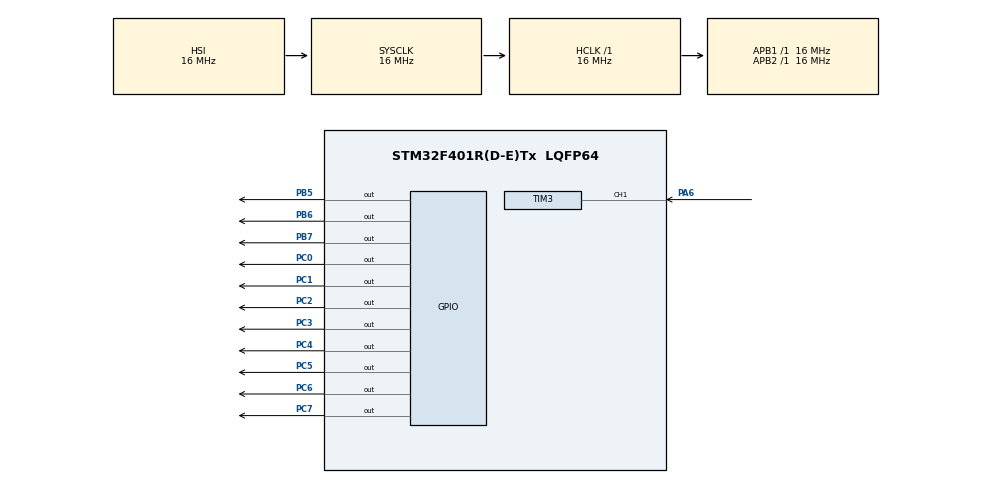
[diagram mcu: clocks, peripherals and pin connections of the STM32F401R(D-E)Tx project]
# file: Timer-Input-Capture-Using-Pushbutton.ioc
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Mcu.Family=STM32F4
RCC.CortexFreq_Value=16000000
TIM3.AutoReloadPreload=TIM_AUTORELOAD_PRELOAD_ENABLE
PC4.Signal=GPIO_Output
PC2.Signal=GPIO_Output
PC6.Signal=GPIO_Output
PC0.Signal=GPIO_Output
ProjectManager.StackSize=0x400
ProjectManager.TargetToolchain=MDK-ARM V5.27
TIM3.Period=1000
PB6.Signal=GPIO_Output
PC7.Signal=GPIO_Output
PC3.Signal=GPIO_Output
RCC.LSE_VALUE=32768
RCC.AHBFreq_Value=16000000
RCC.HSE_VALUE=25000000
TIM3.Channel-Input_Capture1_from_TI1=TIM_CHANNEL_1
board=custom
RCC.VCOOutputFreq_Value=192000000
NVIC.TIM3_IRQn=true\:0\:0\:false\:false\:true\:true\:true
RCC.APB2Freq_Value=16000000
PA6.GPIO_PuPd=GPIO_PULLUP
TIM3.Prescaler=16000
TIM3.ICPolarity_CH1=TIM_INPUTCHANNELPOLARITY_FALLING
PB7.Signal=GPIO_Output
SH.S_TIM3_CH1.0=TIM3_CH1,Input_Capture1_from_TI1
Mcu.Name=STM32F401R(D-E)Tx
RCC.SYSCLKFreq_VALUE=16000000
Mcu.Package=LQFP64
PB5.Signal=GPIO_Output
PA6.Signal=S_TIM3_CH1
ProjectManager.HeapSize=0x200
RCC.HSI_VALUE=16000000
NVIC.PriorityGroup=NVIC_PRIORITYGROUP_4
PC5.Signal=GPIO_Output
TIM3.ICFilter_CH1=0
RCC.APB1Freq_Value=16000000
PC1.Signal=GPIO_Output

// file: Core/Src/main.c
/* USER CODE BEGIN Header */
/**
  ******************************************************************************
  * @file           : main.c
  * @brief          : Main program body
  ******************************************************************************
  * @attention
  *
  * <h2><center>&copy; Copyright (c) 2020 STMicroelectronics.
  * All rights reserved.</center></h2>
  *
  * This software component is licensed by ST under BSD 3-Clause license,
  * the "License"; You may not use this file except in compliance with the
  * License. You may obtain a copy of the License at:
  *                        opensource.org/licenses/BSD-3-Clause
  *
  ******************************************************************************
  */
/* USER CODE END Header */
#include "main.h"

/* USER CODE BEGIN PD */
#define RS GPIO_PIN_5 /* PB5 mask for reg select */
#define RW GPIO_PIN_6 /* PB6 mask for read/write */
#define EN GPIO_PIN_7 /* PB7 mask for enable */
/* USER CODE END PD */

TIM_HandleTypeDef htim3;

/* USER CODE BEGIN PV */
uint64_t seconds = 0;
uint8_t trigger = 0;
double measured_time = 0;
uint32_t counter_val = 0;
/* USER CODE END PV */

void SystemClock_Config(void);
static void MX_GPIO_Init(void);
static void MX_TIM3_Init(void);
/* USER CODE BEGIN PFP */
void HAL_TIM_IC_CaptureCallback(TIM_HandleTypeDef *htim);
void HAL_TIM_PeriodElapsedCallback(TIM_HandleTypeDef *htim);
void GPIO_Write_ODR(GPIO_TypeDef *GPIOx, uint16_t data);
void write_result_on_LCD(void);
void LCD_command(unsigned char command);
void LCD_data(char data);
void LCD_init(void);
void LCD_puts(char *string);
void delayMs(int n);
/* USER CODE END PFP */

int main(void)
{

  /* MCU Configuration--------------------------------------------------------*/

  /* Reset of all peripherals, Initializes the Flash interface and the Systick. */
  HAL_Init();

  /* Configure the system clock */
  SystemClock_Config();

  /* Initialize all configured peripherals */
  MX_GPIO_Init();
  MX_TIM3_Init();
  /* USER CODE BEGIN 2 */
	LCD_init();

	HAL_TIM_Base_Start_IT(&htim3);
	HAL_TIM_IC_Start_IT(&htim3, TIM_CHANNEL_1);
  /* USER CODE END 2 */

  /* Infinite loop */
  while (1)
  {

  }
}

void SystemClock_Config(void)
{
  RCC_OscInitTypeDef RCC_OscInitStruct = {0};
  RCC_ClkInitTypeDef RCC_ClkInitStruct = {0};

  /** Configure the main internal regulator output voltage
  */
  __HAL_RCC_PWR_CLK_ENABLE();
  __HAL_PWR_VOLTAGESCALING_CONFIG(PWR_REGULATOR_VOLTAGE_SCALE2);
  /** Initializes the RCC Oscillators according to the specified parameters
  * in the RCC_OscInitTypeDef structure.
  */
  RCC_OscInitStruct.OscillatorType = RCC_OSCILLATORTYPE_HSI;
  RCC_OscInitStruct.HSIState = RCC_HSI_ON;
  RCC_OscInitStruct.HSICalibrationValue = RCC_HSICALIBRATION_DEFAULT;
  RCC_OscInitStruct.PLL.PLLState = RCC_PLL_NONE;
  if (HAL_RCC_OscConfig(&RCC_OscInitStruct) != HAL_OK)
  {
    Error_Handler();
  }
  /** Initializes the CPU, AHB and APB buses clocks
  */
  RCC_ClkInitStruct.ClockType = RCC_CLOCKTYPE_HCLK|RCC_CLOCKTYPE_SYSCLK
                              |RCC_CLOCKTYPE_PCLK1|RCC_CLOCKTYPE_PCLK2;
  RCC_ClkInitStruct.SYSCLKSource = RCC_SYSCLKSOURCE_HSI;
  RCC_ClkInitStruct.AHBCLKDivider = RCC_SYSCLK_DIV1;
  RCC_ClkInitStruct.APB1CLKDivider = RCC_HCLK_DIV1;
  RCC_ClkInitStruct.APB2CLKDivider = RCC_HCLK_DIV1;

  if (HAL_RCC_ClockConfig(&RCC_ClkInitStruct, FLASH_LATENCY_0) != HAL_OK)
  {
    Error_Handler();
  }
}

static void MX_TIM3_Init(void)
{

  TIM_MasterConfigTypeDef sMasterConfig = {0};
  TIM_IC_InitTypeDef sConfigIC = {0};

  htim3.Instance = TIM3;
  htim3.Init.Prescaler = 16000;
  htim3.Init.CounterMode = TIM_COUNTERMODE_UP;
  htim3.Init.Period = 1000;
  htim3.Init.ClockDivision = TIM_CLOCKDIVISION_DIV1;
  htim3.Init.AutoReloadPreload = TIM_AUTORELOAD_PRELOAD_ENABLE;
  if (HAL_TIM_IC_Init(&htim3) != HAL_OK)
  {
    Error_Handler();
  }
  sMasterConfig.MasterOutputTrigger = TIM_TRGO_RESET;
  sMasterConfig.MasterSlaveMode = TIM_MASTERSLAVEMODE_DISABLE;
  if (HAL_TIMEx_MasterConfigSynchronization(&htim3, &sMasterConfig) != HAL_OK)
  {
    Error_Handler();
  }
  sConfigIC.ICPolarity = TIM_INPUTCHANNELPOLARITY_FALLING;
  sConfigIC.ICSelection = TIM_ICSELECTION_DIRECTTI;
  sConfigIC.ICPrescaler = TIM_ICPSC_DIV1;
  sConfigIC.ICFilter = 0;
  if (HAL_TIM_IC_ConfigChannel(&htim3, &sConfigIC, TIM_CHANNEL_1) != HAL_OK)
  {
    Error_Handler();
  }

}

static void MX_GPIO_Init(void)
{
  GPIO_InitTypeDef GPIO_InitStruct = {0};

  /* GPIO Ports Clock Enable */
  __HAL_RCC_GPIOC_CLK_ENABLE();
  __HAL_RCC_GPIOA_CLK_ENABLE();
  __HAL_RCC_GPIOB_CLK_ENABLE();

  /*Configure GPIO pin Output Level */
  HAL_GPIO_WritePin(GPIOC, GPIO_PIN_0|GPIO_PIN_1|GPIO_PIN_2|GPIO_PIN_3
                          |GPIO_PIN_4|GPIO_PIN_5|GPIO_PIN_6|GPIO_PIN_7, GPIO_PIN_RESET);

  /*Configure GPIO pin Output Level */
  HAL_GPIO_WritePin(GPIOB, GPIO_PIN_5|GPIO_PIN_6|GPIO_PIN_7, GPIO_PIN_RESET);

  /*Configure GPIO pins : PC0 PC1 PC2 PC3
                           PC4 PC5 PC6 PC7 */
  GPIO_InitStruct.Pin = GPIO_PIN_0|GPIO_PIN_1|GPIO_PIN_2|GPIO_PIN_3
                          |GPIO_PIN_4|GPIO_PIN_5|GPIO_PIN_6|GPIO_PIN_7;
  GPIO_InitStruct.Mode = GPIO_MODE_OUTPUT_PP;
  GPIO_InitStruct.Pull = GPIO_NOPULL;
  GPIO_InitStruct.Speed = GPIO_SPEED_FREQ_LOW;
  HAL_GPIO_Init(GPIOC, &GPIO_InitStruct);

  /*Configure GPIO pins : PB5 PB6 PB7 */
  GPIO_InitStruct.Pin = GPIO_PIN_5|GPIO_PIN_6|GPIO_PIN_7;
  GPIO_InitStruct.Mode = GPIO_MODE_OUTPUT_PP;
  GPIO_InitStruct.Pull = GPIO_NOPULL;
  GPIO_InitStruct.Speed = GPIO_SPEED_FREQ_LOW;
  HAL_GPIO_Init(GPIOB, &GPIO_InitStruct);

}

/* USER CODE BEGIN 4 */
void HAL_TIM_IC_CaptureCallback(TIM_HandleTypeDef *htim)
{
	HAL_NVIC_DisableIRQ(TIM3_IRQn);
	if(trigger == 1)
	{
		counter_val = HAL_TIM_ReadCapturedValue(&htim3, TIM_CHANNEL_1);
		trigger = 0;
		measured_time = ((double)(counter_val)) / 1000 + seconds;
		char result[3];
		sprintf(result, "%.3lf", measured_time);
		LCD_command(1);
		LCD_puts("Pushed Time: ");
		LCD_command(0xC0);
		LCD_puts(result);
		__HAL_TIM_SET_CAPTUREPOLARITY(&htim3, TIM_CHANNEL_1, TIM_INPUTCHANNELPOLARITY_FALLING);
	}
	else if(trigger == 0)
	{
		__HAL_TIM_SET_COUNTER(&htim3, 0);
		trigger = 1;
		seconds = 0;
		__HAL_TIM_SET_CAPTUREPOLARITY(&htim3, TIM_CHANNEL_1, TIM_INPUTCHANNELPOLARITY_RISING);
	}
	HAL_NVIC_EnableIRQ(TIM3_IRQn);
}
void HAL_TIM_PeriodElapsedCallback(TIM_HandleTypeDef *htim)
{
	if(trigger == 1)
	{
		++seconds;
	}
}

void GPIO_Write_ODR(GPIO_TypeDef *GPIOx, uint16_t data)
{
  uint8_t i = 0;
  uint8_t mask = 1;
  for (; i < 16; i++)
  {
    if ((mask & data) == 0)
    {
      HAL_GPIO_WritePin(GPIOx, 1 << i, GPIO_PIN_RESET);
    }
    else
    {
      HAL_GPIO_WritePin(GPIOx, 1 << i, GPIO_PIN_SET);
    }
    mask = mask << 1;
  }
}

void LCD_init(void)
{
  delayMs(30); /* initialization sequence */
  LCD_command(0x30);
  delayMs(10);
  LCD_command(0x30);
  delayMs(1);
  LCD_command(0x30);
  LCD_command(0x38); /* set 8-bit data, 2-line, 5x7 font */
  LCD_command(0x06); /* move cursor right after each char */
  LCD_command(0x01); /* clear screen, move cursor to home */
  LCD_command(0x0F); /* turn on display, cursor blinking */
	LCD_command(0x0E);
  LCD_command(0x0C);
}

void LCD_command(unsigned char command)
{
  /* RS = 0, R/W = 0 */
  HAL_GPIO_WritePin(GPIOB, RS, GPIO_PIN_RESET);
  HAL_GPIO_WritePin(GPIOB, RW, GPIO_PIN_RESET);
  GPIO_Write_ODR(GPIOC, command);             /* put command on data bus */
  HAL_GPIO_WritePin(GPIOB, EN, GPIO_PIN_SET); /* pulse E high */
  delayMs(1);
  HAL_GPIO_WritePin(GPIOB, EN, GPIO_PIN_RESET); /* clear E */
  if (command < 4)
    delayMs(2); /* command 1 and 2 needs up to 1.64ms */
  else
    delayMs(1); /* all others 40 us */
}

void LCD_data(char data)
{
  HAL_GPIO_WritePin(GPIOB, RS, GPIO_PIN_SET);   /* RS = 1 */
  HAL_GPIO_WritePin(GPIOB, RW, GPIO_PIN_RESET); /* R/W = 0 */
  GPIO_Write_ODR(GPIOC, data);                  /* put data on data bus */
  HAL_GPIO_WritePin(GPIOB, EN, GPIO_PIN_SET);   /* pulse E high */
  delayMs(1);
  HAL_GPIO_WritePin(GPIOB, EN, GPIO_PIN_RESET); /* clear E */
  delayMs(1);
}

void LCD_puts(char *string)
{
  uint8_t i = 0;
  while (string[i] != '\0')
  {
    LCD_data(string[i]);
    i++;
  }
}

/* delay n milliseconds (16 MHz CPU clock) */
void delayMs(int n)
{
  int i;
  for (; n > 0; n--)
    for (i = 0; i < 3195; i++)
      ;
}
/* USER CODE END 4 */

void Error_Handler(void)
{
}

/************************ (C) COPYRIGHT STMicroelectronics *****END OF FILE****/
